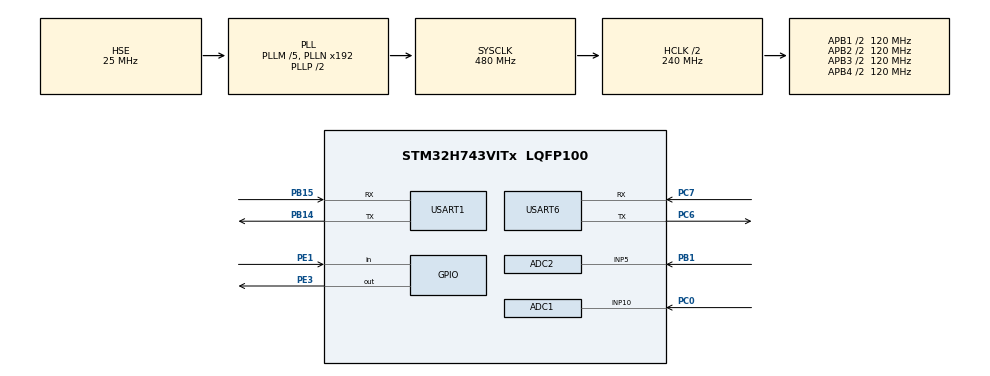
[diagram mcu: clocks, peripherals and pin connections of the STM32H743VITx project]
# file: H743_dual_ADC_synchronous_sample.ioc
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ADC1.Channel-0\#ChannelRegularConversion=ADC_CHANNEL_10
ADC1.ClockPrescaler=ADC_CLOCK_ASYNC_DIV2
ADC1.ConversionDataManagement=ADC_CONVERSIONDATA_DMA_CIRCULAR
ADC1.DMAAccessModeView=ENABLE
ADC1.ExternalTrigConv=ADC_EXTERNALTRIG_T8_TRGO
ADC1.Mode=ADC_DUALMODE_REGSIMULT
ADC1.NbrOfConversionFlag=1
ADC1.OffsetNumber-0\#ChannelRegularConversion=ADC_OFFSET_NONE
ADC1.OffsetSignedSaturation-0\#ChannelRegularConversion=DISABLE
ADC1.Overrun=ADC_OVR_DATA_OVERWRITTEN
ADC1.Rank-0\#ChannelRegularConversion=1
ADC1.SamplingTime-0\#ChannelRegularConversion=ADC_SAMPLETIME_1CYCLE_5
ADC1.master=1
ADC2.Channel-0\#ChannelRegularConversion=ADC_CHANNEL_5
ADC2.ClockPrescaler=ADC_CLOCK_ASYNC_DIV2
ADC2.ConversionDataManagement=ADC_CONVERSIONDATA_DR
ADC2.DMAAccessModeView=ENABLE
ADC2.Mode=ADC_DUALMODE_REGSIMULT
ADC2.NbrOfConversionFlag=1
ADC2.OffsetNumber-0\#ChannelRegularConversion=ADC_OFFSET_NONE
ADC2.OffsetSignedSaturation-0\#ChannelRegularConversion=DISABLE
ADC2.Overrun=ADC_OVR_DATA_OVERWRITTEN
ADC2.Rank-0\#ChannelRegularConversion=1
ADC2.SamplingTime-0\#ChannelRegularConversion=ADC_SAMPLETIME_1CYCLE_5
CORTEX_M7.CPU_ICache=Enabled
CORTEX_M7.default_mode_Activation=0
Dma.ADC1.0.Direction=DMA_PERIPH_TO_MEMORY
Dma.ADC1.0.EventEnable=DISABLE
Dma.ADC1.0.FIFOMode=DMA_FIFOMODE_DISABLE
Dma.ADC1.0.Instance=DMA1_Stream0
Dma.ADC1.0.MemDataAlignment=DMA_MDATAALIGN_WORD
Dma.ADC1.0.MemInc=DMA_MINC_ENABLE
Dma.ADC1.0.Mode=DMA_CIRCULAR
Dma.ADC1.0.PeriphDataAlignment=DMA_PDATAALIGN_WORD
Dma.ADC1.0.PeriphInc=DMA_PINC_DISABLE
Dma.ADC1.0.Polarity=HAL_DMAMUX_REQ_GEN_RISING
Dma.ADC1.0.Priority=DMA_PRIORITY_LOW
Dma.ADC1.0.RequestNumber=1
Dma.ADC1.0.SignalID=NONE
Dma.ADC1.0.SyncEnable=DISABLE
Dma.ADC1.0.SyncPolarity=HAL_DMAMUX_SYNC_NO_EVENT
Dma.ADC1.0.SyncRequestNumber=1
Dma.ADC1.0.SyncSignalID=NONE
Dma.ADC2.1.Direction=DMA_PERIPH_TO_MEMORY
Dma.ADC2.1.EventEnable=DISABLE
Dma.ADC2.1.FIFOMode=DMA_FIFOMODE_DISABLE
Dma.ADC2.1.Instance=DMA1_Stream1
Dma.ADC2.1.MemDataAlignment=DMA_MDATAALIGN_WORD
Dma.ADC2.1.MemInc=DMA_MINC_ENABLE
Dma.ADC2.1.Mode=DMA_CIRCULAR
Dma.ADC2.1.PeriphDataAlignment=DMA_PDATAALIGN_WORD
Dma.ADC2.1.PeriphInc=DMA_PINC_DISABLE
Dma.ADC2.1.Polarity=HAL_DMAMUX_REQ_GEN_RISING
Dma.ADC2.1.Priority=DMA_PRIORITY_LOW
Dma.ADC2.1.RequestNumber=1
Dma.ADC2.1.SignalID=NONE
Dma.ADC2.1.SyncEnable=DISABLE
Dma.ADC2.1.SyncPolarity=HAL_DMAMUX_SYNC_NO_EVENT
Dma.ADC2.1.SyncRequestNumber=1
Dma.ADC2.1.SyncSignalID=NONE
Dma.Request0=ADC1
Dma.Request1=ADC2
Mcu.Family=STM32H7
Mcu.Name=STM32H743VITx
Mcu.Package=LQFP100
NVIC.ADC_IRQn=true\:0\:0\:false\:false\:true\:true\:true\:true
NVIC.DMA1_Stream0_IRQn=true\:0\:0\:false\:false\:true\:false\:true\:true
NVIC.DMA1_Stream1_IRQn=true\:0\:0\:false\:false\:true\:false\:true\:true
NVIC.PriorityGroup=NVIC_PRIORITYGROUP_4
NVIC.TIM8_BRK_TIM12_IRQn=true\:0\:0\:false\:false\:true\:true\:true\:true
NVIC.TIM8_CC_IRQn=true\:0\:0\:false\:false\:true\:true\:true\:true
NVIC.TIM8_TRG_COM_TIM14_IRQn=true\:0\:0\:false\:false\:true\:true\:true\:true
NVIC.TIM8_UP_TIM13_IRQn=true\:0\:0\:false\:false\:true\:true\:true\:true
PA13\ (JTMS/SWDIO).Mode=Serial_Wire
PA13\ (JTMS/SWDIO).Signal=DEBUG_JTMS-SWDIO
PA14\ (JTCK/SWCLK).Mode=Serial_Wire
PA14\ (JTCK/SWCLK).Signal=DEBUG_JTCK-SWCLK
PB1.Signal=ADCx_INP5
PB14.Mode=Asynchronous
PB14.Signal=USART1_TX
PB15.Mode=Asynchronous
PB15.Signal=USART1_RX
PC0.Signal=ADCx_INP10
PC14-OSC32_IN\ (OSC32_IN).Mode=LSE-External-Oscillator
PC14-OSC32_IN\ (OSC32_IN).Signal=RCC_OSC32_IN
PC15-OSC32_OUT\ (OSC32_OUT).Mode=LSE-External-Oscillator
PC15-OSC32_OUT\ (OSC32_OUT).Signal=RCC_OSC32_OUT
PC6.Mode=Asynchronous
PC6.Signal=USART6_TX
PC7.Mode=Asynchronous
PC7.Signal=USART6_RX
PE1.GPIO_PuPd=GPIO_PULLUP
PE1.Signal=GPIO_Input
PE3.Signal=GPIO_Output
PH0-OSC_IN\ (PH0).Mode=HSE-External-Oscillator
PH0-OSC_IN\ (PH0).Signal=RCC_OSC_IN
PH1-OSC_OUT\ (PH1).Mode=HSE-External-Oscillator
PH1-OSC_OUT\ (PH1).Signal=RCC_OSC_OUT
ProjectManager.HeapSize=0x200
ProjectManager.StackSize=0x400
ProjectManager.TargetToolchain=MDK-ARM V5.27
RCC.ADCFreq_Value=75000000
RCC.APB1Freq_Value=120000000
RCC.APB2Freq_Value=120000000
RCC.APB3Freq_Value=120000000
RCC.APB4Freq_Value=120000000
RCC.CortexFreq_Value=480000000
RCC.D1PPRE=RCC_APB3_DIV2
RCC.D2PPRE1=RCC_APB1_DIV2
RCC.D2PPRE2=RCC_APB2_DIV2
RCC.D3PPRE=RCC_APB4_DIV2
RCC.DIVM1=5
RCC.DIVM2=2
RCC.DIVN1=192
RCC.DIVN2=12
RCC.HCLKFreq_Value=240000000
RCC.HPRE=RCC_HCLK_DIV2
RCC.PLL2FRACN=0
RCC.PLL3FRACN=0
RCC.PLLFRACN=0
RCC.PLLSourceVirtual=RCC_PLLSOURCE_HSE
RCC.PWR_Regulator_Voltage_Scale=PWR_REGULATOR_VOLTAGE_SCALE0
RCC.ProductRev=revV
RCC.SYSCLKFreq_VALUE=480000000
RCC.SYSCLKSource=RCC_SYSCLKSOURCE_PLLCLK
RCC.USBFreq_Value=480000000
SH.ADCx_INP10.0=ADC1_INP10,IN10-Single-Ended
SH.ADCx_INP5.0=ADC2_INP5,IN5-Single-Ended
TIM8.AutoReloadPreload=TIM_AUTORELOAD_PRELOAD_ENABLE
TIM8.Period=4
TIM8.Prescaler=47
TIM8.TIM_MasterOutputTrigger=TIM_TRGO_UPDATE
USART1.VirtualMode-Asynchronous=VM_ASYNC
USART6.VirtualMode=VM_ASYNC
VP_TIM8_VS_ClockSourceINT.Mode=Internal
board=custom

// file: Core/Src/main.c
/* USER CODE BEGIN Header */
/**
 ******************************************************************************
 * @file           : main.c
 * @brief          : Main program body
 ******************************************************************************
 * @attention
 *
 * Copyright (c) 2025 STMicroelectronics.
 * All rights reserved.
 *
 * This software is licensed under terms that can be found in the LICENSE file
 * in the root directory of this software component.
 * If no LICENSE file comes with this software, it is provided AS-IS.
 *
 ******************************************************************************
 */
/* USER CODE END Header */
#include "main.h"
#include "adc.h"
#include "dma.h"
#include "tim.h"
#include "usart.h"
#include "gpio.h"

/* USER CODE BEGIN Includes */
#include "Phase.h"
#include "stdio.h"

/* USER CODE END Includes */

/* USER CODE BEGIN PM */

/* "D:\\cubeMx\\cubemx project\\H743_dual_ADC_synchronous_sample\\Drivers\\CMSIS\\DSP\\Include" */

/* USER CODE END PM */

void SystemClock_Config(void);
void PeriphCommonClock_Config(void);

/* USER CODE BEGIN 0 */

int fputc(int ch, FILE *f)
{
  HAL_UART_Transmit(&huart6, (uint8_t *)&ch, 1, 0xffff);
  return ch;
}

/* USER CODE END 0 */

int main(void)
{

  /* Enable I-Cache---------------------------------------------------------*/
  SCB_EnableICache();

  /* MCU Configuration--------------------------------------------------------*/

  /* Reset of all peripherals, Initializes the Flash interface and the Systick. */
  HAL_Init();

  /* Configure the system clock */
  SystemClock_Config();

/* Configure the peripherals common clocks */
  PeriphCommonClock_Config();

  /* Initialize all configured peripherals */
  MX_GPIO_Init();
  MX_DMA_Init();
  MX_ADC2_Init();
  MX_ADC1_Init();
  MX_TIM8_Init();
  MX_USART1_UART_Init();
  MX_USART6_UART_Init();
  /* USER CODE BEGIN 2 */

  PhaseCalculate_ADC_Init(&hadc1, &hadc2);

  printf("OK START!\n");
  /* USER CODE END 2 */

  /* Infinite loop */
  /* USER CODE BEGIN WHILE */
  while (1)
  {
    if (HAL_GPIO_ReadPin(GPIOE, GPIO_PIN_1) == GPIO_PIN_RESET)
    {
      HAL_Delay(10);
      if (HAL_GPIO_ReadPin(GPIOE, GPIO_PIN_1) == GPIO_PIN_RESET)
      {
        HAL_GPIO_TogglePin(GPIOE, GPIO_PIN_3);
        while (HAL_GPIO_ReadPin(GPIOE, GPIO_PIN_1) == GPIO_PIN_RESET)
          ;
        printf("LETS GO\n");

        HAL_TIM_Base_Start(&htim8);
      }
    }

    if (ADC_COMPLETED)
    {
      printf("phaseDifference: %f\n", Get_PhaseDifference());
    }

    /* USER CODE END WHILE */

  }
}

void SystemClock_Config(void)
{
  RCC_OscInitTypeDef RCC_OscInitStruct = {0};
  RCC_ClkInitTypeDef RCC_ClkInitStruct = {0};

  /** Supply configuration update enable
  */
  HAL_PWREx_ConfigSupply(PWR_LDO_SUPPLY);

  /** Configure the main internal regulator output voltage
  */
  __HAL_PWR_VOLTAGESCALING_CONFIG(PWR_REGULATOR_VOLTAGE_SCALE1);

  while(!__HAL_PWR_GET_FLAG(PWR_FLAG_VOSRDY)) {}

  __HAL_RCC_SYSCFG_CLK_ENABLE();
  __HAL_PWR_VOLTAGESCALING_CONFIG(PWR_REGULATOR_VOLTAGE_SCALE0);

  while(!__HAL_PWR_GET_FLAG(PWR_FLAG_VOSRDY)) {}

  /** Initializes the RCC Oscillators according to the specified parameters
  * in the RCC_OscInitTypeDef structure.
  */
  RCC_OscInitStruct.OscillatorType = RCC_OSCILLATORTYPE_HSE;
  RCC_OscInitStruct.HSEState = RCC_HSE_ON;
  RCC_OscInitStruct.PLL.PLLState = RCC_PLL_ON;
  RCC_OscInitStruct.PLL.PLLSource = RCC_PLLSOURCE_HSE;
  RCC_OscInitStruct.PLL.PLLM = 5;
  RCC_OscInitStruct.PLL.PLLN = 192;
  RCC_OscInitStruct.PLL.PLLP = 2;
  RCC_OscInitStruct.PLL.PLLQ = 2;
  RCC_OscInitStruct.PLL.PLLR = 2;
  RCC_OscInitStruct.PLL.PLLRGE = RCC_PLL1VCIRANGE_2;
  RCC_OscInitStruct.PLL.PLLVCOSEL = RCC_PLL1VCOWIDE;
  RCC_OscInitStruct.PLL.PLLFRACN = 0;
  if (HAL_RCC_OscConfig(&RCC_OscInitStruct) != HAL_OK)
  {
    Error_Handler();
  }

  /** Initializes the CPU, AHB and APB buses clocks
  */
  RCC_ClkInitStruct.ClockType = RCC_CLOCKTYPE_HCLK|RCC_CLOCKTYPE_SYSCLK
                              |RCC_CLOCKTYPE_PCLK1|RCC_CLOCKTYPE_PCLK2
                              |RCC_CLOCKTYPE_D3PCLK1|RCC_CLOCKTYPE_D1PCLK1;
  RCC_ClkInitStruct.SYSCLKSource = RCC_SYSCLKSOURCE_PLLCLK;
  RCC_ClkInitStruct.SYSCLKDivider = RCC_SYSCLK_DIV1;
  RCC_ClkInitStruct.AHBCLKDivider = RCC_HCLK_DIV2;
  RCC_ClkInitStruct.APB3CLKDivider = RCC_APB3_DIV2;
  RCC_ClkInitStruct.APB1CLKDivider = RCC_APB1_DIV2;
  RCC_ClkInitStruct.APB2CLKDivider = RCC_APB2_DIV2;
  RCC_ClkInitStruct.APB4CLKDivider = RCC_APB4_DIV2;

  if (HAL_RCC_ClockConfig(&RCC_ClkInitStruct, FLASH_LATENCY_4) != HAL_OK)
  {
    Error_Handler();
  }
}

void PeriphCommonClock_Config(void)
{
  RCC_PeriphCLKInitTypeDef PeriphClkInitStruct = {0};

  /** Initializes the peripherals clock
  */
  PeriphClkInitStruct.PeriphClockSelection = RCC_PERIPHCLK_ADC;
  PeriphClkInitStruct.PLL2.PLL2M = 2;
  PeriphClkInitStruct.PLL2.PLL2N = 12;
  PeriphClkInitStruct.PLL2.PLL2P = 2;
  PeriphClkInitStruct.PLL2.PLL2Q = 2;
  PeriphClkInitStruct.PLL2.PLL2R = 2;
  PeriphClkInitStruct.PLL2.PLL2RGE = RCC_PLL2VCIRANGE_3;
  PeriphClkInitStruct.PLL2.PLL2VCOSEL = RCC_PLL2VCOMEDIUM;
  PeriphClkInitStruct.PLL2.PLL2FRACN = 0;
  PeriphClkInitStruct.AdcClockSelection = RCC_ADCCLKSOURCE_PLL2;
  if (HAL_RCCEx_PeriphCLKConfig(&PeriphClkInitStruct) != HAL_OK)
  {
    Error_Handler();
  }
}

/* USER CODE BEGIN 4 */
// 回调函数
void HAL_ADC_ConvCpltCallback(ADC_HandleTypeDef *hadc)
{
  // printf("采样停止\n");
  HAL_TIM_Base_Stop(&htim8); // 停止 ADC 采样
  ADC_COMPLETED = 1;         // 标志位置为一
}

/* USER CODE END 4 */

void Error_Handler(void)
{
  __disable_irq();
  while (1)
  {
  }
}
